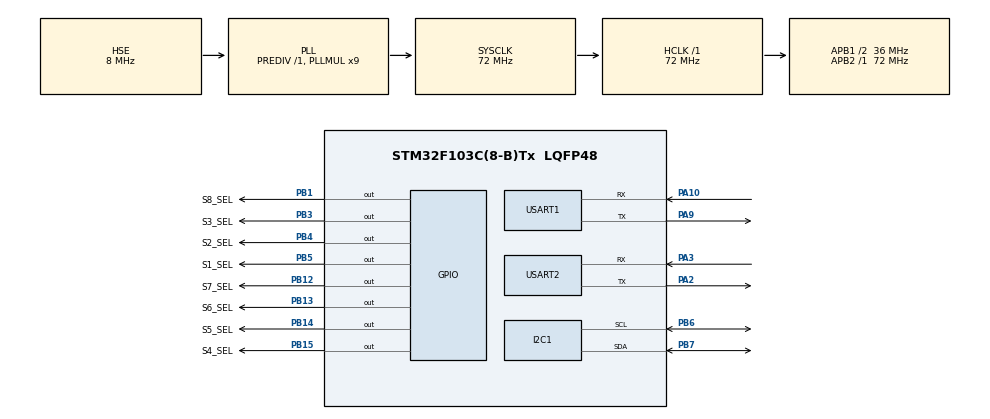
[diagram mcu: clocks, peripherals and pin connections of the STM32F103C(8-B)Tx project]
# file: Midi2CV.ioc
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Mcu.Family=STM32F1
Mcu.Name=STM32F103C(8-B)Tx
Mcu.Package=LQFP48
NVIC.PriorityGroup=NVIC_PRIORITYGROUP_4
NVIC.USART1_IRQn=true\:0\:0\:false\:false\:true\:true\:true\:true
NVIC.USART2_IRQn=true\:0\:0\:false\:false\:true\:true\:true\:true
PA10.Mode=Asynchronous
PA10.Signal=USART1_RX
PA13.Mode=Serial_Wire
PA13.Signal=SYS_JTMS-SWDIO
PA14.Mode=Serial_Wire
PA14.Signal=SYS_JTCK-SWCLK
PA2.Mode=Asynchronous
PA2.Signal=USART2_TX
PA3.Mode=Asynchronous
PA3.Signal=USART2_RX
PA9.Mode=Asynchronous
PA9.Signal=USART1_TX
PB1.GPIO_Label=S8_SEL
PB1.Signal=GPIO_Output
PB12.GPIO_Label=S7_SEL
PB12.Signal=GPIO_Output
PB13.GPIO_Label=S6_SEL
PB13.Signal=GPIO_Output
PB14.GPIO_Label=S5_SEL
PB14.Signal=GPIO_Output
PB15.GPIO_Label=S4_SEL
PB15.Signal=GPIO_Output
PB3.GPIO_Label=S3_SEL
PB3.Signal=GPIO_Output
PB4.GPIO_Label=S2_SEL
PB4.Signal=GPIO_Output
PB5.GPIO_Label=S1_SEL 
PB5.Signal=GPIO_Output
PB6.GPIO_Speed=GPIO_SPEED_FREQ_HIGH
PB6.Mode=I2C
PB6.Signal=I2C1_SCL
PB7.GPIO_Mode=GPIO_MODE_AF_OD
PB7.Mode=I2C
PB7.Signal=I2C1_SDA
PD0-OSC_IN.Mode=HSE-External-Oscillator
PD0-OSC_IN.Signal=RCC_OSC_IN
PD1-OSC_OUT.Mode=HSE-External-Oscillator
PD1-OSC_OUT.Signal=RCC_OSC_OUT
ProjectManager.HeapSize=0x200
ProjectManager.StackSize=0x400
ProjectManager.TargetToolchain=STM32CubeIDE
RCC.AHBFreq_Value=72000000
RCC.APB1CLKDivider=RCC_HCLK_DIV2
RCC.APB1Freq_Value=36000000
RCC.APB1TimFreq_Value=72000000
RCC.APB2Freq_Value=72000000
RCC.APB2TimFreq_Value=72000000
RCC.HCLKFreq_Value=72000000
RCC.PLLMUL=RCC_PLL_MUL9
RCC.PLLSourceVirtual=RCC_PLLSOURCE_HSE
RCC.SYSCLKFreq_VALUE=72000000
RCC.SYSCLKSource=RCC_SYSCLKSOURCE_PLLCLK
RCC.USBFreq_Value=72000000
USART1.VirtualMode=VM_ASYNC
USART2.VirtualMode=VM_ASYNC
board=custom

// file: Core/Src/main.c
/* USER CODE BEGIN Header */
/**
  ******************************************************************************
  * @file           : main.c
  * @brief          : Main program body
  ******************************************************************************
  * @attention
  *
  * Copyright (c) 2023 STMicroelectronics.
  * All rights reserved.
  *
  * This software is licensed under terms that can be found in the LICENSE file
  * in the root directory of this software component.
  * If no LICENSE file comes with this software, it is provided AS-IS.
  *
  ******************************************************************************
  */
/* USER CODE END Header */
#include "main.h"

/* USER CODE BEGIN Includes */
#include <stdio.h>
#include <stdarg.h>
/* USER CODE END Includes */

/* USER CODE BEGIN PM */
#define SX_SEL_GPIO_Port GPIOB
#define S1_SEL_Pin GPIO_PIN_5
#define S2_SEL_Pin GPIO_PIN_4
#define S3_SEL_Pin GPIO_PIN_3
#define S4_SEL_Pin GPIO_PIN_15
#define S5_SEL_Pin GPIO_PIN_14
#define S6_SEL_Pin GPIO_PIN_13
#define S7_SEL_Pin GPIO_PIN_12
#define S8_SEL_Pin GPIO_PIN_1

/* USER CODE END PM */

I2C_HandleTypeDef hi2c1;

UART_HandleTypeDef huart1;
UART_HandleTypeDef huart2;

void SystemClock_Config(void);
static void MX_GPIO_Init(void);
static void MX_USART1_UART_Init(void);
static void MX_USART2_UART_Init(void);
static void MX_I2C1_Init(void);

/* USER CODE BEGIN 0 */

#define NOTE_ON		(0x90)
#define NOTE_OFF	(0x80)

#define U_BUF_SIZE (64)
#define MIDI_BUF_SIZE (64)
static const uint8_t MCP4725_ADDR = 0x61 << 1; // Use 8-bit address

uint8_t rx_push_pos = 0;
uint8_t rx_pop_pos = 0;
uint8_t rx_data;
uint8_t rx_buff[U_BUF_SIZE];

uint8_t tx_push_pos = 0;
uint8_t tx_pop_pos = 0;
uint8_t tx_data;
uint8_t tx_buff[U_BUF_SIZE];

uint8_t rmidi_push_pos = 0;
uint8_t rmidi_pop_pos = 0;
uint8_t rmidi_data;
uint8_t rmidi_buff[MIDI_BUF_SIZE];

uint8_t tmidi_push_pos = 0;
uint8_t tmidi_pop_pos = 0;
uint8_t tmidi_data;
uint8_t tmidi_buff[MIDI_BUF_SIZE];

/* Config #1
 *
 * S1 - channel 0
 * S2 - channel 1
 * S3 - channel 2
 * S4 - channel 3
 * S5 - channel 4
 * S6 - channel 5
 * S7 - channel 6
 * S8 - channel 7
 */
//uint8_t config[][] =[[S0_SEL_Pin,S0_SEL_Pin,S0_SEL_Pin,S0_SEL_Pin,S0_SEL_Pin,S0_SEL_Pin,S0_SEL_Pin,S0_SEL_Pin]];
// a0 to a5 (21 to 93) to (0 to 4095)
#define MIN_NOTE 21
#define MAX_NOTE 93

#define TARGET_PIN S8_SEL_Pin

void u_putchar(uint8_t tx_data)
{

	tx_buff[tx_push_pos] = tx_data;
	if(tx_push_pos >= U_BUF_SIZE - 1)
		tx_push_pos = 0;
	else
		tx_push_pos++;
}

int __io_putchar(int ch)
{
	u_putchar((uint8_t)ch);
	return ch;
}

void u_printf(const char* format, ...)
{
	va_list arg;
	va_start(arg, format);
	vprintf(format, arg);
	va_end(arg);
}

void HAL_UART_RxCpltCallback(UART_HandleTypeDef *huart)
{
	if(huart->Instance == USART1){
		rx_buff [rx_push_pos] = rx_data;
		if(rx_push_pos >= U_BUF_SIZE - 1)
			rx_push_pos = 0;
		else
			rx_push_pos++;
		HAL_UART_Receive_IT(&huart1, &rx_data, 1);

	}else if(huart->Instance == USART2){
		rmidi_buff [rmidi_push_pos] = rmidi_data;
		if(rmidi_push_pos >= MIDI_BUF_SIZE - 1)
			rmidi_push_pos = 0;
		else
			rmidi_push_pos++;
		HAL_UART_Receive_IT(&huart2, &rmidi_data, 1);
	}
}

void HAL_UART_TxCpltCallback(UART_HandleTypeDef *huart)
{
}

void set_CV(uint8_t *data){
	uint8_t msg = data[0] & 0xf0;
	uint8_t channel = data[0] & 0xf;
	uint8_t midi_note = data[1] & 0x7f;

	if ((midi_note < MIN_NOTE) || (midi_note > MAX_NOTE))
		return;
	//uint16_t note = ((data[1] & 0x7f)*4095)/127;
	uint16_t value = (midi_note - MIN_NOTE) * 4095 /(MAX_NOTE - MIN_NOTE);
	uint8_t velocity = data[2];

	uint8_t buf[3];
	buf[0] = 0x40; // normal mode
	buf[1] = (uint8_t)((value & 0xff0) >> 4);
	buf[2] = (uint8_t)((value & 0xf) << 4);

	if(channel > 0) return;

	if(msg == NOTE_ON){
		if(velocity > 0){
			u_printf("note: %d, %02x %02x %02x\n", value, buf[0], buf[1], buf[2]);
			HAL_GPIO_WritePin(SX_SEL_GPIO_Port, TARGET_PIN, GPIO_PIN_SET);
			HAL_I2C_Master_Transmit(&hi2c1, MCP4725_ADDR, buf, 3, 1000); //Sending in Blocking mode
			HAL_Delay(100);
		} else{ // Yamaha sends vel0 instead of note off
			HAL_GPIO_WritePin(SX_SEL_GPIO_Port, TARGET_PIN, GPIO_PIN_RESET);
		}
	} else if(msg == NOTE_OFF){
		HAL_GPIO_WritePin(SX_SEL_GPIO_Port, TARGET_PIN, GPIO_PIN_RESET);
	}
}

void uart_proc(void)
{
	static uint8_t midi_data[3];
	static int midi_index = 0;
	while(rmidi_push_pos != rmidi_pop_pos)
	{
		uint8_t ch = rmidi_buff[rmidi_pop_pos];
		if(rmidi_pop_pos >= MIDI_BUF_SIZE - 1)
			rmidi_pop_pos = 0;
		else
			rmidi_pop_pos++;

		if(ch & 0x80){
			midi_index = 0;
			midi_data[midi_index] = ch;
			midi_index++;
			//u_printf("status: %02x\n", ch);
		}else{
			if(midi_index <= 2){
				midi_data[midi_index] = ch;
				midi_index++;
				if(midi_index == 3){
					u_printf("midi: %02x %02x %02x\n", midi_data[0], midi_data[1], midi_data[2]);
					set_CV(midi_data);
					midi_index = 0;
				}
			}else{
				u_printf("Error: midi_index: %d\n", midi_index);
			}
			//u_printf("data: %02x\n", ch);
		}

	}

	if(tmidi_push_pos != tmidi_pop_pos)
	{
		if(huart2.gState == HAL_UART_STATE_READY)
		{
			uint8_t ch = tmidi_buff[tmidi_pop_pos];
			if(tmidi_pop_pos >= MIDI_BUF_SIZE - 1)
				tmidi_pop_pos = 0;
			else
				tmidi_pop_pos++;
			HAL_UART_Transmit_IT(&huart2, (uint8_t *)&ch, 1);
		}
	}

	/* echo received chars */
	while(rx_push_pos != rx_pop_pos)
	{
		uint8_t ch = rx_buff[rx_pop_pos];
		if(rx_pop_pos >= U_BUF_SIZE - 1)
			rx_pop_pos = 0;
		else
			rx_pop_pos++;
		u_putchar(ch);
	}

	if(tx_push_pos != tx_pop_pos)
	{
		if(huart1.gState == HAL_UART_STATE_READY)
		{
			uint8_t ch = tx_buff[tx_pop_pos];
			if(tx_pop_pos >= U_BUF_SIZE - 1)
				tx_pop_pos = 0;
			else
				tx_pop_pos++;
			HAL_UART_Transmit_IT(&huart1, (uint8_t *)&ch, 1);
		}
	}
}

void send_midi(uint8_t data)
{
	if(huart2.gState == HAL_UART_STATE_READY)
	{
		HAL_UART_Transmit_IT(&huart2, &data, 1);
	}else{
		tmidi_buff[tmidi_push_pos] = data;
		if(tmidi_push_pos >= MIDI_BUF_SIZE - 1)
			tmidi_push_pos = 0;
		else
			tmidi_push_pos++;
	}
}
/* USER CODE END 0 */

int main(void)
{

  /* MCU Configuration--------------------------------------------------------*/

  /* Reset of all peripherals, Initializes the Flash interface and the Systick. */
  HAL_Init();

  /* Configure the system clock */
  SystemClock_Config();

  /* Initialize all configured peripherals */
  MX_GPIO_Init();
  MX_USART1_UART_Init();
  MX_USART2_UART_Init();
  MX_I2C1_Init();
  /* USER CODE BEGIN 2 */
  u_printf("\nSTM32 starts...\r\n");
  HAL_UART_Receive_IT(&huart1, &rx_data, 1);
  HAL_UART_Receive_IT(&huart2, &rmidi_data, 1);
  HAL_GPIO_WritePin(SX_SEL_GPIO_Port, S1_SEL_Pin, GPIO_PIN_RESET);
  HAL_GPIO_WritePin(SX_SEL_GPIO_Port, S2_SEL_Pin, GPIO_PIN_RESET);
  HAL_GPIO_WritePin(SX_SEL_GPIO_Port, S3_SEL_Pin, GPIO_PIN_RESET);
  HAL_GPIO_WritePin(SX_SEL_GPIO_Port, S4_SEL_Pin, GPIO_PIN_RESET);
  HAL_GPIO_WritePin(SX_SEL_GPIO_Port, S5_SEL_Pin, GPIO_PIN_RESET);
  HAL_GPIO_WritePin(SX_SEL_GPIO_Port, S6_SEL_Pin, GPIO_PIN_RESET);
  HAL_GPIO_WritePin(SX_SEL_GPIO_Port, S7_SEL_Pin, GPIO_PIN_RESET);
  /* USER CODE END 2 */

  /* Infinite loop */
  /* USER CODE BEGIN WHILE */
  while (1)
  {
	  uart_proc();
    /* USER CODE END WHILE */

  }
}

void SystemClock_Config(void)
{
  RCC_OscInitTypeDef RCC_OscInitStruct = {0};
  RCC_ClkInitTypeDef RCC_ClkInitStruct = {0};

  /** Initializes the RCC Oscillators according to the specified parameters
  * in the RCC_OscInitTypeDef structure.
  */
  RCC_OscInitStruct.OscillatorType = RCC_OSCILLATORTYPE_HSE;
  RCC_OscInitStruct.HSEState = RCC_HSE_ON;
  RCC_OscInitStruct.HSEPredivValue = RCC_HSE_PREDIV_DIV1;
  RCC_OscInitStruct.HSIState = RCC_HSI_ON;
  RCC_OscInitStruct.PLL.PLLState = RCC_PLL_ON;
  RCC_OscInitStruct.PLL.PLLSource = RCC_PLLSOURCE_HSE;
  RCC_OscInitStruct.PLL.PLLMUL = RCC_PLL_MUL9;
  if (HAL_RCC_OscConfig(&RCC_OscInitStruct) != HAL_OK)
  {
    Error_Handler();
  }

  /** Initializes the CPU, AHB and APB buses clocks
  */
  RCC_ClkInitStruct.ClockType = RCC_CLOCKTYPE_HCLK|RCC_CLOCKTYPE_SYSCLK
                              |RCC_CLOCKTYPE_PCLK1|RCC_CLOCKTYPE_PCLK2;
  RCC_ClkInitStruct.SYSCLKSource = RCC_SYSCLKSOURCE_PLLCLK;
  RCC_ClkInitStruct.AHBCLKDivider = RCC_SYSCLK_DIV1;
  RCC_ClkInitStruct.APB1CLKDivider = RCC_HCLK_DIV2;
  RCC_ClkInitStruct.APB2CLKDivider = RCC_HCLK_DIV1;

  if (HAL_RCC_ClockConfig(&RCC_ClkInitStruct, FLASH_LATENCY_2) != HAL_OK)
  {
    Error_Handler();
  }
}

static void MX_I2C1_Init(void)
{

  hi2c1.Instance = I2C1;
  hi2c1.Init.ClockSpeed = 100000;
  hi2c1.Init.DutyCycle = I2C_DUTYCYCLE_2;
  hi2c1.Init.OwnAddress1 = 0;
  hi2c1.Init.AddressingMode = I2C_ADDRESSINGMODE_7BIT;
  hi2c1.Init.DualAddressMode = I2C_DUALADDRESS_DISABLE;
  hi2c1.Init.OwnAddress2 = 0;
  hi2c1.Init.GeneralCallMode = I2C_GENERALCALL_DISABLE;
  hi2c1.Init.NoStretchMode = I2C_NOSTRETCH_DISABLE;
  if (HAL_I2C_Init(&hi2c1) != HAL_OK)
  {
    Error_Handler();
  }

}

static void MX_USART1_UART_Init(void)
{

  huart1.Instance = USART1;
  huart1.Init.BaudRate = 115200;
  huart1.Init.WordLength = UART_WORDLENGTH_8B;
  huart1.Init.StopBits = UART_STOPBITS_1;
  huart1.Init.Parity = UART_PARITY_NONE;
  huart1.Init.Mode = UART_MODE_TX_RX;
  huart1.Init.HwFlowCtl = UART_HWCONTROL_NONE;
  huart1.Init.OverSampling = UART_OVERSAMPLING_16;
  if (HAL_UART_Init(&huart1) != HAL_OK)
  {
    Error_Handler();
  }

}

static void MX_USART2_UART_Init(void)
{

  huart2.Instance = USART2;
  huart2.Init.BaudRate = 31250;
  huart2.Init.WordLength = UART_WORDLENGTH_8B;
  huart2.Init.StopBits = UART_STOPBITS_1;
  huart2.Init.Parity = UART_PARITY_NONE;
  huart2.Init.Mode = UART_MODE_TX_RX;
  huart2.Init.HwFlowCtl = UART_HWCONTROL_NONE;
  huart2.Init.OverSampling = UART_OVERSAMPLING_16;
  if (HAL_UART_Init(&huart2) != HAL_OK)
  {
    Error_Handler();
  }

}

static void MX_GPIO_Init(void)
{
  GPIO_InitTypeDef GPIO_InitStruct = {0};

  /* GPIO Ports Clock Enable */
  __HAL_RCC_GPIOD_CLK_ENABLE();
  __HAL_RCC_GPIOA_CLK_ENABLE();
  __HAL_RCC_GPIOB_CLK_ENABLE();

  /*Configure GPIO pin Output Level */
  HAL_GPIO_WritePin(GPIOB, S8_SEL_Pin|S7_SEL_Pin|S6_SEL_Pin|S5_SEL_Pin
                          |S4_SEL_Pin|S3_SEL_Pin|S2_SEL_Pin|S1_SEL_Pin, GPIO_PIN_RESET);

  /*Configure GPIO pins : S8_SEL_Pin S7_SEL_Pin S6_SEL_Pin S5_SEL_Pin
                           S4_SEL_Pin S3_SEL_Pin S2_SEL_Pin S1_SEL_Pin */
  GPIO_InitStruct.Pin = S8_SEL_Pin|S7_SEL_Pin|S6_SEL_Pin|S5_SEL_Pin
                          |S4_SEL_Pin|S3_SEL_Pin|S2_SEL_Pin|S1_SEL_Pin;
  GPIO_InitStruct.Mode = GPIO_MODE_OUTPUT_PP;
  GPIO_InitStruct.Pull = GPIO_NOPULL;
  GPIO_InitStruct.Speed = GPIO_SPEED_FREQ_LOW;
  HAL_GPIO_Init(GPIOB, &GPIO_InitStruct);

}

void Error_Handler(void)
{
  __disable_irq();
  while (1)
  {
  }
}
